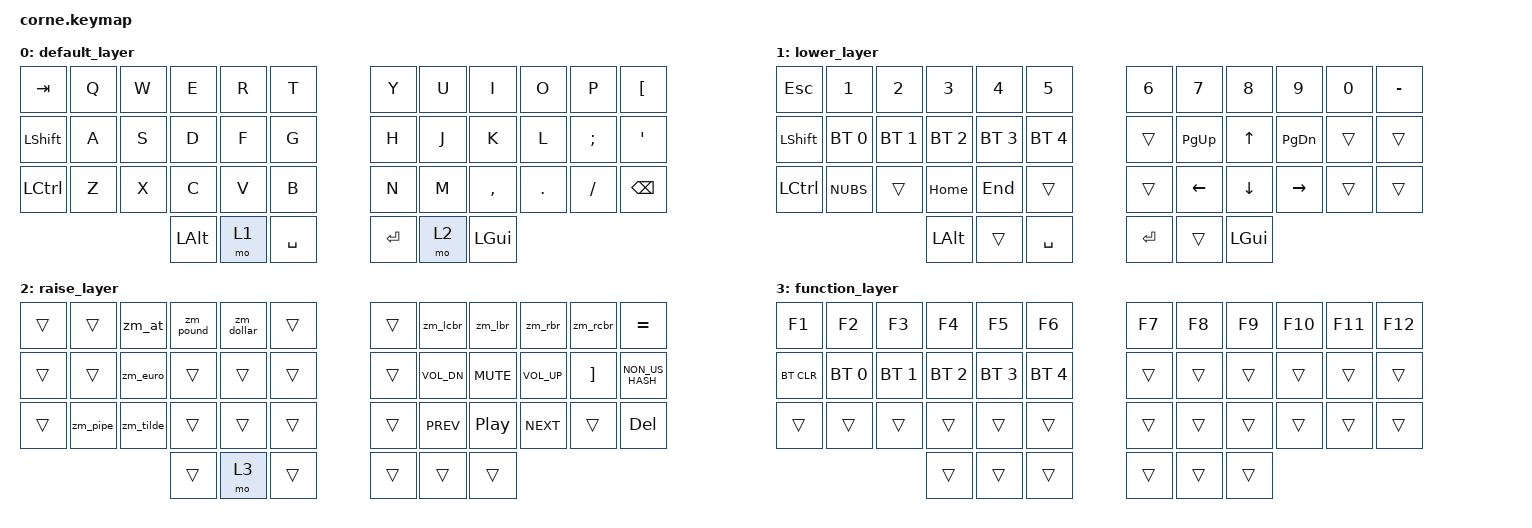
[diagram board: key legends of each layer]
/*
 * Copyright (c) 2020 The ZMK Contributors
 *
 * SPDX-License-Identifier: MIT
 */

#include <behaviors.dtsi>
#include <dt-bindings/zmk/keys.h>
#include <dt-bindings/zmk/bt.h>

// combo_pipe
/ {
    macros {
        zm_pipe: zm_pipe {
            label = "zm_pipe";
            compatible = "zmk,behavior-macro";
            #binding-cells = <0>;
            bindings
                = <&macro_press &kp RALT>
                , <&macro_tap &kp NUBS>
                , <&macro_release &kp RALT>
                ;
        };
        zm_at: zm_at {
            label = "zm_at";
            compatible = "zmk,behavior-macro";
            #binding-cells = <0>;
            bindings
                = <&macro_press &kp RALT>
                , <&macro_tap &kp N2>
                , <&macro_release &kp RALT>
                ;
        };
        zm_pound: zm_pound {
            label = "zm_pound";
            compatible = "zmk,behavior-macro";
            #binding-cells = <0>;
            bindings
                = <&macro_press &kp RALT>
                , <&macro_tap &kp N3>
                , <&macro_release &kp RALT>
                ;
        };
        zm_dollar: zm_dollar {
            label = "zm_dollar";
            compatible = "zmk,behavior-macro";
            #binding-cells = <0>;
            bindings
                = <&macro_press &kp RALT>
                , <&macro_tap &kp N4>
                , <&macro_release &kp RALT>
                ;
        };
        zm_euro: zm_euro {
            label = "zm_euro";
            compatible = "zmk,behavior-macro";
            #binding-cells = <0>;
            bindings
                = <&macro_press &kp RALT>
                , <&macro_tap &kp E>
                , <&macro_release &kp RALT>
                ;
        };

        zm_lcbr: zm_lcbr {
            label = "zm_lcbr";
            compatible = "zmk,behavior-macro";
            #binding-cells = <0>;
            bindings
                = <&macro_press &kp RALT>
                , <&macro_tap &kp N7>
                , <&macro_release &kp RALT>
                ;
        };

        zm_lbr: zm_lbr {
            label = "zm_lbr";
            compatible = "zmk,behavior-macro";
            #binding-cells = <0>;
            bindings
                = <&macro_press &kp RALT>
                , <&macro_tap &kp N8>
                , <&macro_release &kp RALT>
                ;
        };

        zm_rbr: zm_rbr {
            label = "zm_rbr";
            compatible = "zmk,behavior-macro";
            #binding-cells = <0>;
            bindings
                = <&macro_press &kp RALT>
                , <&macro_tap &kp N9>
                , <&macro_release &kp RALT>
                ;
        };

        zm_rcbr: zm_rcbr {
            label = "zm_rcbr";
            compatible = "zmk,behavior-macro";
            #binding-cells = <0>;
            bindings
                = <&macro_press &kp RALT>
                , <&macro_tap &kp N0>
                , <&macro_release &kp RALT>
                ;
        };

        zm_tilde: zm_tilde {
            label = "zm_tilde";
            compatible = "zmk,behavior-macro";
            #binding-cells = <0>;
            bindings
                = <&macro_press &kp RALT>
                , <&macro_tap &kp RBKT>
                , <&macro_release &kp RALT>
                ;
        };
    };
};

/ {
        keymap {
                compatible = "zmk,keymap";

                default_layer {
                        bindings = <
   &kp TAB   &kp Q &kp W &kp E &kp R &kp T              &kp Y &kp U  &kp I     &kp O   &kp P    &kp LBKT
   &kp LSHFT &kp A &kp S &kp D &kp F &kp G              &kp H &kp J  &kp K     &kp L   &kp SEMI &kp SQT
   &kp LCTRL &kp Z &kp X &kp C &kp V &kp B              &kp N &kp M  &kp COMMA &kp DOT &kp FSLH &kp BSPC
                  &kp LALT &mo 1 &kp SPACE              &kp RET &mo 2 &kp LGUI
                        >;
                };
                lower_layer {
                        bindings = <
   &kp ESC    &kp N1       &kp N2       &kp N3       &kp N4       &kp N5                &kp N6    &kp N7    &kp N8    &kp N9    &kp N0 &kp MINUS
   &kp LSHFT  &bt BT_SEL 0 &bt BT_SEL 1 &bt BT_SEL 2 &bt BT_SEL 3 &bt BT_SEL 4          &trans    &kp PG_UP &kp UP    &kp PG_DN &trans &trans
   &kp LCTRL  &kp NUBS     &trans       &kp HOME     &kp END      &trans                &trans    &kp LEFT  &kp DOWN  &kp RIGHT &trans &trans
                          	        &kp LALT     &trans       &kp SPACE             &kp RET   &trans    &kp LGUI
                        >;
                };

                raise_layer {
                        bindings = <
   &trans  &trans   &zm_at    &zm_pound &zm_dollar &trans       &trans  &zm_lcbr     &zm_lbr          &zm_rbr       &zm_rcbr &kp EQUAL 
   &trans  &trans   &zm_euro  &trans    &trans     &trans       &trans  &kp C_VOL_DN &kp C_MUTE       &kp C_VOL_UP  &kp RBKT &kp NON_US_HASH
   &trans  &zm_pipe &zm_tilde &trans    &trans     &trans       &trans  &kp C_PREV   &kp C_PLAY_PAUSE &kp C_NEXT    &trans   &kp DEL 
                    	     &trans &mo 3 &trans                    &trans &trans &trans
                        >;
                };

                function_layer {
                        bindings = <
   &kp F1     &kp F2       &kp F3       &kp F4       &kp F5       &kp F6             &kp F7 &kp F8 &kp F9 &kp F10 &kp F11 &kp F12
   &bt BT_CLR &bt BT_SEL 0 &bt BT_SEL 1 &bt BT_SEL 2 &bt BT_SEL 3 &bt BT_SEL 4       &trans &trans &trans &trans  &trans  &trans
   &trans     &trans       &trans       &trans       &trans       &trans             &trans &trans &trans &trans  &trans  &trans
                   	  &trans &trans &trans                                       &trans &trans &trans
                        >;
                };
        };
};
